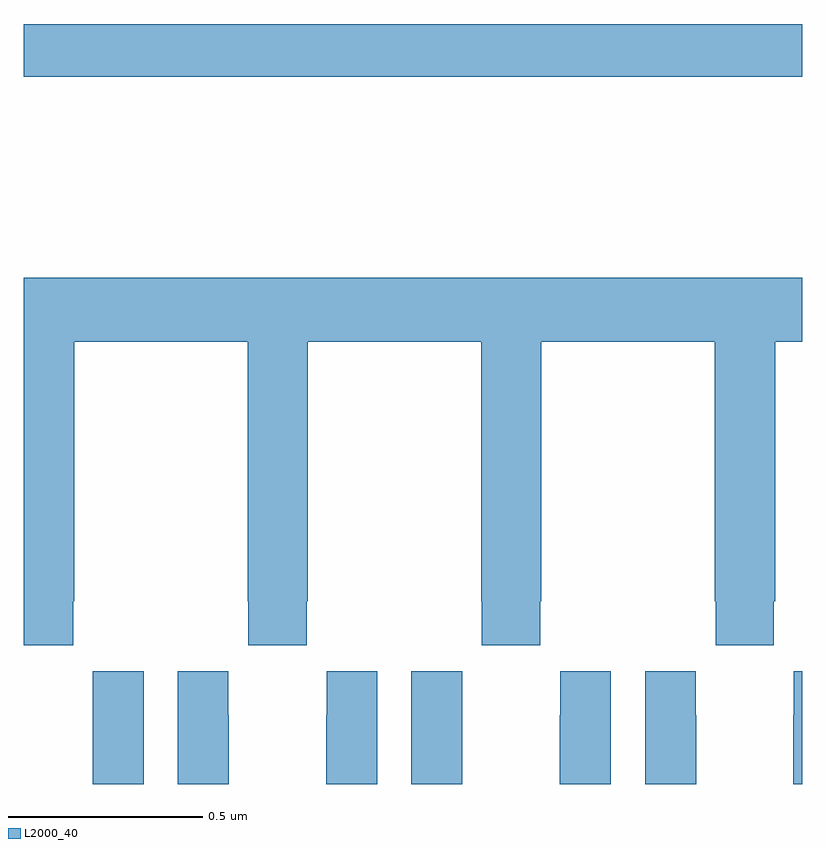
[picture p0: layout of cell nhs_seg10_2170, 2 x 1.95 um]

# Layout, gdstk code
import gdstk
lib = gdstk.Library(unit=1e-6, precision=1e-09)
def R(c, l, rs):  # rectangles x0, y0, x1, y1
    for r in rs: c.add(gdstk.rectangle(r[:2], r[2:], *l))
def P(c, l, *ps):  # polygons
    for p in ps: c.add(gdstk.Polygon(p, *l))
L2000_40 = (2000, 40)

nhs_seg10_2170 = lib.new_cell('nhs_seg10_2170')
R(nhs_seg10_2170, L2000_40, [(137,1314.316,139,1314.452)])
P(nhs_seg10_2170, L2000_40, [(137.127,1312.969),(137.13,1312.969),(137.13,1313.636),(137.575,1313.636),(137.575,1312.969),(137.577,1312.969),(137.577,1312.857),(137.727,1312.857),(137.727,1312.969),(137.73,1312.969),(137.73,1313.636),(138.175,1313.636),(138.175,1312.969),(138.177,1312.969),(138.177,1312.857),(138.327,1312.857),(138.327,1312.969),(138.33,1312.969),(138.33,1313.636),(138.775,1313.636),(138.775,1312.969),(138.777,1312.969),(138.777,1312.857),(138.927,1312.857),(138.927,1312.969),(138.93,1312.969),(138.93,1313.636),(139,1313.636),(139,1313.8),(137,1313.8),(137,1312.857),(137.127,1312.857)],
  [(137.908,1312.789),(137.778,1312.789),(137.778,1312.676),(137.777,1312.676),(137.777,1312.5),(137.908,1312.5)],
  [(138.127,1312.676),(138.126,1312.676),(138.126,1312.789),(137.996,1312.789),(137.996,1312.5),(138.127,1312.5)],
  [(138.508,1312.789),(138.378,1312.789),(138.378,1312.676),(138.377,1312.676),(138.377,1312.5),(138.508,1312.5)],
  [(138.727,1312.676),(138.726,1312.676),(138.726,1312.789),(138.596,1312.789),(138.596,1312.5),(138.727,1312.5)],
  [(139,1312.789),(138.978,1312.789),(138.978,1312.676),(138.977,1312.676),(138.977,1312.5),(139,1312.5)],
  [(137.527,1312.676),(137.526,1312.676),(137.526,1312.789),(137.396,1312.789),(137.396,1312.5),(137.527,1312.5)],
  [(137.308,1312.789),(137.178,1312.789),(137.178,1312.676),(137.177,1312.676),(137.177,1312.5),(137.308,1312.5)])

lib.write_gds('nhs_seg10_2170.gds')
